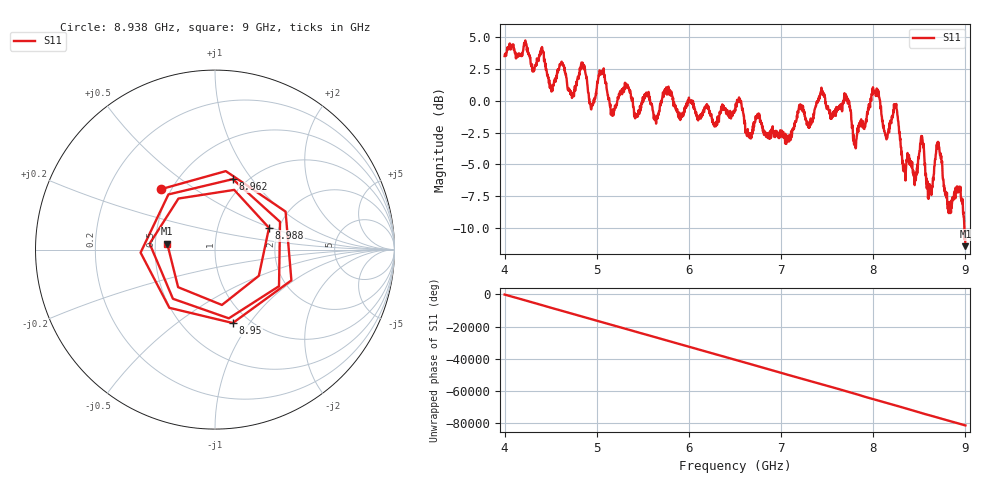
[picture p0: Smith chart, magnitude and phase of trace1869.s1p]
! Created with skrf 1.8.0 (http://scikit-rf.org).
# Hz S RI R 50.0
!freq ReS11 ImS11
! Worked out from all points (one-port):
!   1601 points, 4 GHz to 9 GHz, reference 50 ohm
!   lowest |S11| = -11.4 dB at 9 GHz (marker M1), VSWR 1.73, Z = 28.9 + j2.05 ohm
!   |S11| at or under -10 dB: 8.988586 GHz to end of sweep
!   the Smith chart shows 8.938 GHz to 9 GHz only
!   S11 on the Smith chart (normalised r, x): 8.938 GHz: 0.44, +0.37; 8.95 GHz: 0.84, -0.84; 8.962 GHz: 0.87, +0.81; 8.988 GHz: 1.78, +0.48; 9 GHz: 0.58, +0.04
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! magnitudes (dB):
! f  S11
! 4 GHz  3.5
! 4.506 GHz  0.9
! 4.625 GHz  2.9
! 4.728 GHz  0.6
! 4.853 GHz  2.6
! 4.941 GHz  -0.7
! 5.053 GHz  2.4
! 5.162 GHz  -0.8
! 5.25 GHz  0.6
! 5.875 GHz  -0.8
! 6.5 GHz  -0.6
! 7.125 GHz  -2.3
! 7.444 GHz  0.7
! 7.75 GHz  -0.8
! 7.803 GHz  -3.4
! 8.006 GHz  0.8
! 8.141 GHz  -2.9
! 8.241 GHz  -0.3
! 8.375 GHz  -4.2
! 8.528 GHz  -2.8
! 8.619 GHz  -7.3
! 8.706 GHz  -3.2
! 8.819 GHz  -8.8
! 8.938 GHz  -6.9
! 8.95 GHz  -7.5
! 8.962 GHz  -7.9
! 8.988 GHz  -9.8
! 9 GHz  -11.4
